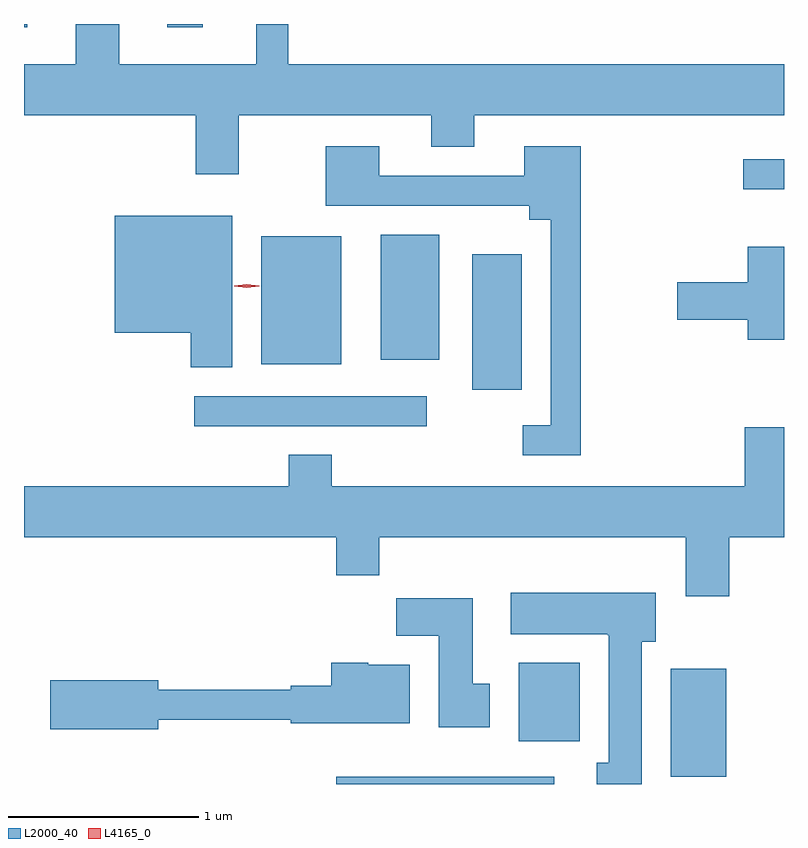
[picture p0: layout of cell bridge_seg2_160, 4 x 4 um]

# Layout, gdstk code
import gdstk
lib = gdstk.Library(unit=1e-6, precision=1e-09)
def R(c, l, rs):  # rectangles x0, y0, x1, y1
    for r in rs: c.add(gdstk.rectangle(r[:2], r[2:], *l))
def P(c, l, *ps):  # polygons
    for p in ps: c.add(gdstk.Polygon(p, *l))
L2000_40 = (2000, 40)
L4165_0 = (4165, 0)

bridge_seg2_160 = lib.new_cell('bridge_seg2_160')
R(bridge_seg2_160, L2000_40, [(819.531,1111.397,820.679,1111.434), (821.291,1111.436,821.584,1112.004), (820.491,1111.621,820.814,1112.034), (818.783,1113.281,820.008,1113.439), (820.246,1113.471,820.509,1114.184), (819.136,1113.606,819.559,1114.279), (819.766,1113.631,820.074,1114.289), (821.673,1114.526,821.888,1114.684), (817.888,1115.381,817.904,1115.397), (818.641,1115.381,818.829,1115.397)])
P(bridge_seg2_160, L2000_40, [(819.019,1114.916),(820.031,1114.916),(820.031,1114.751),(820.259,1114.751),(820.259,1114.916),(821.888,1114.916),(821.888,1115.184),(819.279,1115.184),(819.279,1115.397),(819.111,1115.397),(819.111,1115.184),(818.389,1115.184),(818.389,1115.397),(818.161,1115.397),(818.161,1115.184),(817.888,1115.184),(817.888,1114.916),(818.791,1114.916),(818.791,1114.606),(819.019,1114.606)],
  [(820.819,1114.754),(820.521,1114.754),(820.521,1114.599),(819.759,1114.599),(819.759,1114.754),(819.476,1114.754),(819.476,1114.441),(820.546,1114.441),(820.546,1114.366),(820.661,1114.366),(820.661,1113.284),(820.513,1113.284),(820.513,1113.126),(820.819,1113.126)],
  [(818.984,1114.389),(818.366,1114.389),(818.366,1113.771),(818.766,1113.771),(818.766,1113.591),(818.984,1113.591)],
  [(821.888,1114.224),(821.696,1114.224),(821.696,1114.039),(821.326,1114.039),(821.326,1113.841),(821.696,1113.841),(821.696,1113.736),(821.888,1113.736)],
  [(821.599,1112.696),(821.888,1112.696),(821.888,1113.274),(821.681,1113.274),(821.681,1112.964),(819.509,1112.964),(819.509,1113.129),(819.281,1113.129),(819.281,1112.964),(817.888,1112.964),(817.888,1112.696),(819.531,1112.696),(819.531,1112.496),(819.759,1112.496),(819.759,1112.696),(821.371,1112.696),(821.371,1112.386),(821.599,1112.386)],
  [(821.139,1112.146),(821.214,1112.146),(821.214,1112.404),(820.451,1112.404),(820.451,1112.186),(820.96,1112.186),(820.96,1112.18),(820.966,1112.18),(820.966,1111.509),(820.903,1111.509),(820.903,1111.397),(821.139,1111.397)],
  [(820.339,1111.924),(820.249,1111.924),(820.249,1112.374),(819.846,1112.374),(819.846,1112.176),(820.071,1112.176),(820.071,1111.696),(820.339,1111.696)],
  [(818.594,1111.736),(819.291,1111.736),(819.291,1111.716),(819.919,1111.716),(819.919,1112.024),(819.7,1112.024),(819.7,1112.034),(819.506,1112.034),(819.506,1111.914),(819.291,1111.914),(819.291,1111.894),(818.594,1111.894),(818.594,1111.944),(818.026,1111.944),(818.026,1111.686),(818.594,1111.686)])
P(bridge_seg2_160, L4165_0, [(819.06,1114.009),(818.995,1114.018),(818.994,1114.019),(818.995,1114.02),(819.06,1114.028),(819.126,1114.019),(819.126,1114.018),(819.126,1114.018)])

lib.write_gds('bridge_seg2_160.gds')
